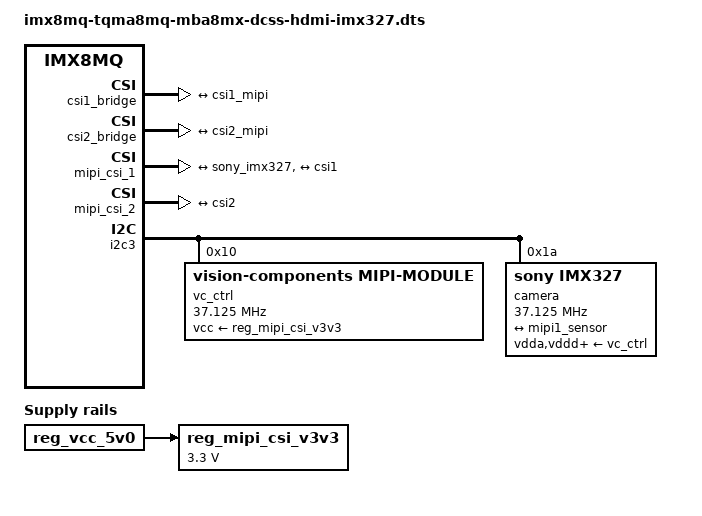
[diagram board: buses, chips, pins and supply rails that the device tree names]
// SPDX-License-Identifier: (GPL-2.0-or-later OR MIT)
/*
 * Copyright (c) 2021-2023 TQ-Systems GmbH <linux@ew.tq-group.com>,
 * D-82229 Seefeld, Germany.
 * Author: Alexander Stein
 */

#include "imx8mq-tqma8mq-mba8mx-dcss-hdmi.dts"

/ {
	/* This voltage converter is located on the adapter board MBaxCA */
	reg_mipi_csi_v3v3: regulator-mipi-csi-v3v3 {
		compatible = "regulator-fixed";
		regulator-name = "MIPI_CSI_V_3V3";
		regulator-min-microvolt = <3300000>;
		regulator-max-microvolt = <3300000>;
		vin-supply = <&reg_vcc_5v0>;
	};
};

&csi1_bridge {
	fsl,mipi-mode;
	status = "okay";

	port {
		csi1: endpoint {
			remote-endpoint = <&csi1_mipi>;
		};
	};
};

&csi2_bridge {
	fsl,mipi-mode;

	port {
		csi2: endpoint {
			remote-endpoint = <&csi2_mipi>;
		};
	};
};

&mipi_csi_1 {
	status = "okay";

	port {
		#address-cells = <1>;
		#size-cells = <0>;

		mipi1_sensor: endpoint@0 {
			reg = <0>;
			remote-endpoint = <&sony_imx327>;
			data-lanes = <1 2>;
		};

		csi1_mipi: endpoint@1 {
			reg = <1>;
			remote-endpoint = <&csi1>;
		};
	};
};

&mipi_csi_2 {
	port {
		#address-cells = <1>;
		#size-cells = <0>;

		mipi2_sensor: endpoint@0 {
			reg = <0>;
		};

		csi2_mipi: endpoint@1 {
			reg = <1>;
			remote-endpoint = <&csi2>;
		};
	};
};

&i2c3 {
	vc_ctrl: controller@10 {
		compatible = "vision-components,mipi-module";
		reg = <0x10>;
		#clock-cells = <0>;
		vcc-supply = <&reg_mipi_csi_v3v3>;
		clock-frequency = <37125000>;
	};

	camera@1a {
		compatible = "sony,imx327", "sony,imx290";
		reg = <0x1a>;
		clocks = <&vc_ctrl>;
		clock-names = "xclk";
		clock-frequency = <37125000>;
		vdda-supply = <&vc_ctrl>;
		vddd-supply = <&vc_ctrl>;
		vdddo-supply = <&vc_ctrl>;
		orientation = <2>;

		port {
			sony_imx327: endpoint {
				remote-endpoint = <&mipi1_sensor>;
				data-lanes = <1 2>;
				clock-lanes = <0>;
				clock-noncontinuous = <1>;
				link-frequencies = /bits/ 64 <445500000 297000000>;
			};
		};
	};
};
